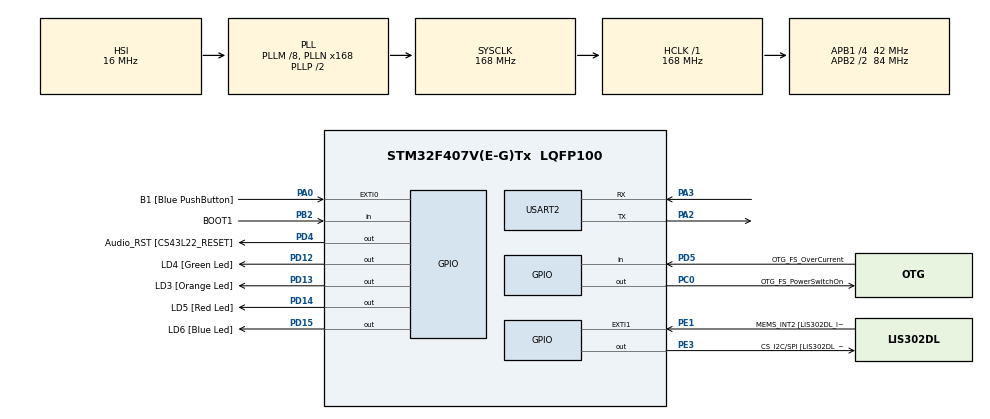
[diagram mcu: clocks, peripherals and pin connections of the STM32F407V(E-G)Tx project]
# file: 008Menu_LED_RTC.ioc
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Mcu.Family=STM32F4
Mcu.Name=STM32F407V(E-G)Tx
Mcu.Package=LQFP100
NVIC.PriorityGroup=NVIC_PRIORITYGROUP_4
NVIC.TIM6_DAC_IRQn=true\:0\:0\:false\:false\:true\:false\:true\:true
NVIC.TimeBase=TIM6_DAC_IRQn
NVIC.TimeBaseIP=TIM6
NVIC.USART2_IRQn=true\:6\:0\:true\:false\:true\:true\:true\:true
PA0-WKUP.GPIO_Label=B1 [Blue PushButton]
PA0-WKUP.Signal=GPXTI0
PA10.GPIO_Label=OTG_FS_ID
PA10.GPIO_Mode=GPIO_MODE_AF_PP
PA10.GPIO_PuPd=GPIO_NOPULL
PA10.GPIO_Speed=GPIO_SPEED_FREQ_LOW
PA10.Signal=USB_OTG_FS_ID
PA11.GPIO_Label=OTG_FS_DM
PA11.GPIO_Mode=GPIO_MODE_AF_PP
PA11.GPIO_PuPd=GPIO_NOPULL
PA11.GPIO_Speed=GPIO_SPEED_FREQ_LOW
PA11.Signal=USB_OTG_FS_DM
PA12.GPIO_Label=OTG_FS_DP
PA12.GPIO_Mode=GPIO_MODE_AF_PP
PA12.GPIO_PuPd=GPIO_NOPULL
PA12.GPIO_Speed=GPIO_SPEED_FREQ_LOW
PA12.Signal=USB_OTG_FS_DP
PA13.GPIO_Label=SWDIO
PA13.Signal=SYS_JTMS-SWDIO
PA14.GPIO_Label=SWCLK
PA14.Signal=SYS_JTCK-SWCLK
PA2.Mode=Asynchronous
PA2.Signal=USART2_TX
PA3.Mode=Asynchronous
PA3.Signal=USART2_RX
PA4.GPIO_Label=I2S3_WS [CS43L22_LRCK]
PA4.GPIO_Mode=GPIO_MODE_AF_PP
PA4.GPIO_PuPd=GPIO_NOPULL
PA4.GPIO_Speed=GPIO_SPEED_FREQ_LOW
PA4.Signal=I2S3_WS
PA5.GPIO_Label=SPI1_SCK [LIS302DL_SCL/SPC]
PA5.GPIO_Mode=GPIO_MODE_AF_PP
PA5.GPIO_PuPd=GPIO_NOPULL
PA5.GPIO_Speed=GPIO_SPEED_FREQ_LOW
PA5.Signal=SPI1_SCK
PA6.GPIO_Label=SPI1_MISO [LIS302DL_SDO]
PA6.GPIO_Mode=GPIO_MODE_AF_PP
PA6.GPIO_PuPd=GPIO_NOPULL
PA6.GPIO_Speed=GPIO_SPEED_FREQ_LOW
PA6.Signal=SPI1_MISO
PA7.GPIO_Label=SPI1_MOSI [LIS302DL_SDA/SDI/SDO]
PA7.GPIO_Mode=GPIO_MODE_AF_PP
PA7.GPIO_PuPd=GPIO_NOPULL
PA7.GPIO_Speed=GPIO_SPEED_FREQ_LOW
PA7.Signal=SPI1_MOSI
PA9.GPIO_Label=VBUS_FS
PA9.GPIO_Mode=GPIO_MODE_INPUT
PA9.GPIO_PuPd=GPIO_NOPULL
PA9.Signal=USB_OTG_FS_VBUS
PB10.GPIO_Label=CLK_IN [MP45DT02_CLK]
PB10.GPIO_Mode=GPIO_MODE_AF_PP
PB10.GPIO_PuPd=GPIO_NOPULL
PB10.GPIO_Speed=GPIO_SPEED_FREQ_LOW
PB10.Signal=I2S2_CK
PB2.GPIO_Label=BOOT1
PB2.GPIO_Mode=GPIO_MODE_INPUT
PB2.GPIO_PuPd=GPIO_NOPULL
PB2.Signal=GPIO_Input
PB3.GPIO_Label=SWO
PB3.Signal=SYS_JTDO-SWO
PB6.GPIO_Label=Audio_SCL [CS43L22_SCL]
PB6.GPIO_Mode=GPIO_MODE_AF_OD
PB6.GPIO_PuPd=GPIO_NOPULL
PB6.GPIO_Speed=GPIO_SPEED_FREQ_LOW
PB6.Signal=I2C1_SCL
PB9.GPIO_Label=Audio_SDA [CS43L22_SDA]
PB9.GPIO_Mode=GPIO_MODE_AF_OD
PB9.GPIO_PuPd=GPIO_NOPULL
PB9.GPIO_Speed=GPIO_SPEED_FREQ_LOW
PB9.Signal=I2C1_SDA
PC0.GPIO_Label=OTG_FS_PowerSwitchOn
PC0.GPIO_PuPd=GPIO_NOPULL
PC0.GPIO_Speed=GPIO_SPEED_FREQ_LOW
PC0.PinState=GPIO_PIN_SET
PC0.Signal=GPIO_Output
PC10.GPIO_Label=I2S3_SCK [CS43L22_SCLK]
PC10.GPIO_Mode=GPIO_MODE_AF_PP
PC10.GPIO_PuPd=GPIO_NOPULL
PC10.GPIO_Speed=GPIO_SPEED_FREQ_LOW
PC10.Signal=I2S3_CK
PC12.GPIO_Label=I2S3_SD [CS43L22_SDIN]
PC12.GPIO_Mode=GPIO_MODE_AF_PP
PC12.GPIO_PuPd=GPIO_NOPULL
PC12.GPIO_Speed=GPIO_SPEED_FREQ_LOW
PC12.Signal=I2S3_SD
PC14-OSC32_IN.GPIO_Label=PC14-OSC32_IN
PC14-OSC32_IN.Signal=RCC_OSC32_IN
PC15-OSC32_OUT.GPIO_Label=PC15-OSC32_OUT
PC15-OSC32_OUT.Signal=RCC_OSC32_OUT
PC3.GPIO_Label=PDM_OUT [MP45DT02_DOUT]
PC3.GPIO_Mode=GPIO_MODE_AF_PP
PC3.GPIO_PuPd=GPIO_NOPULL
PC3.GPIO_Speed=GPIO_SPEED_FREQ_LOW
PC3.Signal=I2S2_SD
PC7.GPIO_Label=I2S3_MCK [CS43L22_MCLK]
PC7.GPIO_Mode=GPIO_MODE_AF_PP
PC7.GPIO_PuPd=GPIO_NOPULL
PC7.GPIO_Speed=GPIO_SPEED_FREQ_LOW
PC7.Signal=I2S3_MCK
PD12.GPIO_Label=LD4 [Green Led]
PD12.GPIO_PuPd=GPIO_NOPULL
PD12.GPIO_Speed=GPIO_SPEED_FREQ_LOW
PD12.Signal=GPIO_Output
PD13.GPIO_Label=LD3 [Orange Led]
PD13.GPIO_PuPd=GPIO_NOPULL
PD13.GPIO_Speed=GPIO_SPEED_FREQ_LOW
PD13.Signal=GPIO_Output
PD14.GPIO_Label=LD5 [Red Led]
PD14.GPIO_PuPd=GPIO_NOPULL
PD14.GPIO_Speed=GPIO_SPEED_FREQ_LOW
PD14.Signal=GPIO_Output
PD15.GPIO_Label=LD6 [Blue Led]
PD15.GPIO_PuPd=GPIO_NOPULL
PD15.GPIO_Speed=GPIO_SPEED_FREQ_LOW
PD15.Signal=GPIO_Output
PD4.GPIO_Label=Audio_RST [CS43L22_RESET]
PD4.GPIO_PuPd=GPIO_NOPULL
PD4.GPIO_Speed=GPIO_SPEED_FREQ_LOW
PD4.Signal=GPIO_Output
PD5.GPIO_Label=OTG_FS_OverCurrent
PD5.GPIO_Mode=GPIO_MODE_INPUT
PD5.GPIO_PuPd=GPIO_NOPULL
PD5.Signal=GPIO_Input
PE1.GPIO_Label=MEMS_INT2 [LIS302DL_INT2]
PE1.GPIO_ModeDefaultEXTI=GPIO_MODE_EVT_RISING
PE1.GPIO_PuPd=GPIO_NOPULL
PE1.Signal=GPXTI1
PE3.GPIO_Label=CS_I2C/SPI [LIS302DL_CS_I2C/SPI]
PE3.GPIO_PuPd=GPIO_NOPULL
PE3.GPIO_Speed=GPIO_SPEED_FREQ_LOW
PE3.Signal=GPIO_Output
PH0-OSC_IN.GPIO_Label=PH0-OSC_IN
PH0-OSC_IN.Signal=RCC_OSC_IN
PH1-OSC_OUT.GPIO_Label=PH1-OSC_OUT
PH1-OSC_OUT.Signal=RCC_OSC_OUT
ProjectManager.HeapSize=0x200
ProjectManager.StackSize=0x400
ProjectManager.TargetToolchain=STM32CubeIDE
RCC.48MHZClocksFreq_Value=48000000
RCC.AHBFreq_Value=168000000
RCC.APB1CLKDivider=RCC_HCLK_DIV4
RCC.APB1Freq_Value=42000000
RCC.APB1TimFreq_Value=84000000
RCC.APB2CLKDivider=RCC_HCLK_DIV2
RCC.APB2Freq_Value=84000000
RCC.APB2TimFreq_Value=168000000
RCC.CortexFreq_Value=168000000
RCC.HCLKFreq_Value=168000000
RCC.HSE_VALUE=8000000
RCC.HSI_VALUE=16000000
RCC.LSE_VALUE=32768
RCC.PLLM=8
RCC.PLLN=168
RCC.PLLQ=7
RCC.SYSCLKFreq_VALUE=168000000
RCC.SYSCLKSource=RCC_SYSCLKSOURCE_PLLCLK
RCC.VCOOutputFreq_Value=336000000
RTC.HourFormat=RTC_HOURFORMAT_12
USART2.VirtualMode=VM_ASYNC
VP_RTC_VS_RTC_Activate.Mode=RTC_Enabled
VP_SYS_VS_tim6.Mode=TIM6
board=STM32F407G-DISC1

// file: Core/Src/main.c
/* USER CODE BEGIN Header */
/**
  ******************************************************************************
  * @file           : main.c
  * @brief          : Main program body
  ******************************************************************************
  * @attention
  *
  * Copyright (c) 2025 STMicroelectronics.
  * All rights reserved.
  *
  * This software is licensed under terms that can be found in the LICENSE file
  * in the root directory of this software component.
  * If no LICENSE file comes with this software, it is provided AS-IS.
  *
  ******************************************************************************
  */
/* USER CODE END Header */
#include "main.h"

RTC_HandleTypeDef hrtc;

UART_HandleTypeDef huart2;

/* USER CODE BEGIN PV */
TaskHandle_t handle_menu_task;
TaskHandle_t handle_cmd_task;
TaskHandle_t handle_print_task;
TaskHandle_t handle_led_task;
TaskHandle_t handle_rtc_task;

QueueHandle_t q_data;
QueueHandle_t q_print;

TimerHandle_t handle_led_timer[4];
TimerHandle_t rtc_timer;

volatile uint8_t user_data;

state_t curr_state = sMainMenu;
/* USER CODE END PV */

void SystemClock_Config(void);
static void MX_GPIO_Init(void);
static void MX_RTC_Init(void);
static void MX_USART2_UART_Init(void);
/* USER CODE BEGIN PFP */
void led_effect_callback(TimerHandle_t xTimer);
void rtc_report_callback(TimerHandle_t xTimer);
/* USER CODE END PFP */

int main(void)
{

  /* USER CODE BEGIN 1 */
	BaseType_t status;
  /* USER CODE END 1 */

  /* MCU Configuration--------------------------------------------------------*/

  /* Reset of all peripherals, Initializes the Flash interface and the Systick. */
  HAL_Init();

  /* Configure the system clock */
  SystemClock_Config();

  /* Initialize all configured peripherals */
  MX_GPIO_Init();
  MX_RTC_Init();
  MX_USART2_UART_Init();
  /* USER CODE BEGIN 2 */
  status = xTaskCreate(menu_task, "menu_task", 250, NULL, 2, &handle_menu_task);

  configASSERT(status == pdPASS);

  status = xTaskCreate(cmd_task, "cmd_task", 250, NULL, 2, &handle_cmd_task);

  configASSERT(status == pdPASS);

  status = xTaskCreate(print_task, "print_task", 250, NULL, 2, &handle_print_task);

  configASSERT(status == pdPASS);

  status = xTaskCreate(led_task, "led_task", 250, NULL, 2, &handle_led_task);

  configASSERT(status == pdPASS);

  status = xTaskCreate(rtc_task, "rtc_task", 250, NULL, 2, &handle_rtc_task);

  configASSERT(status == pdPASS);

  q_data = xQueueCreate(10, sizeof(char));

  configASSERT(q_data != NULL);

  q_print = xQueueCreate(10, sizeof(size_t)); //this queue carry pointer address

  configASSERT(q_print != NULL);

  //enable uart for receive interrupt and receiving 1 byte 1 byte
  HAL_UART_Receive_IT(&huart2, (uint8_t*)&user_data, 1);
  //length değerine 1 dediğimiz için her bir byte uart receive tamamlandı sanar ve HAL_UART_RxCpltCallback çağırılır, yani her byte çağırılır

  for(int i = 0; i < 4; i++)
	  handle_led_timer[i] = xTimerCreate("led_timer", pdMS_TO_TICKS(500), pdTRUE, (void*)(i+1), led_effect_callback);

  rtc_timer = xTimerCreate("rtc_report_timer", pdMS_TO_TICKS(1000), pdTRUE, NULL, rtc_report_callback);

  vTaskStartScheduler();
  /* USER CODE END 2 */

  /* Infinite loop */
  while (1)
  {

  }
}

void SystemClock_Config(void)
{
  RCC_OscInitTypeDef RCC_OscInitStruct = {0};
  RCC_ClkInitTypeDef RCC_ClkInitStruct = {0};

  /** Configure the main internal regulator output voltage
  */
  __HAL_RCC_PWR_CLK_ENABLE();
  __HAL_PWR_VOLTAGESCALING_CONFIG(PWR_REGULATOR_VOLTAGE_SCALE1);

  /** Initializes the RCC Oscillators according to the specified parameters
  * in the RCC_OscInitTypeDef structure.
  */
  RCC_OscInitStruct.OscillatorType = RCC_OSCILLATORTYPE_HSI|RCC_OSCILLATORTYPE_LSI;
  RCC_OscInitStruct.HSIState = RCC_HSI_ON;
  RCC_OscInitStruct.HSICalibrationValue = RCC_HSICALIBRATION_DEFAULT;
  RCC_OscInitStruct.LSIState = RCC_LSI_ON;
  RCC_OscInitStruct.PLL.PLLState = RCC_PLL_ON;
  RCC_OscInitStruct.PLL.PLLSource = RCC_PLLSOURCE_HSI;
  RCC_OscInitStruct.PLL.PLLM = 8;
  RCC_OscInitStruct.PLL.PLLN = 168;
  RCC_OscInitStruct.PLL.PLLP = RCC_PLLP_DIV2;
  RCC_OscInitStruct.PLL.PLLQ = 7;
  if (HAL_RCC_OscConfig(&RCC_OscInitStruct) != HAL_OK)
  {
    Error_Handler();
  }

  /** Initializes the CPU, AHB and APB buses clocks
  */
  RCC_ClkInitStruct.ClockType = RCC_CLOCKTYPE_HCLK|RCC_CLOCKTYPE_SYSCLK
                              |RCC_CLOCKTYPE_PCLK1|RCC_CLOCKTYPE_PCLK2;
  RCC_ClkInitStruct.SYSCLKSource = RCC_SYSCLKSOURCE_PLLCLK;
  RCC_ClkInitStruct.AHBCLKDivider = RCC_SYSCLK_DIV1;
  RCC_ClkInitStruct.APB1CLKDivider = RCC_HCLK_DIV4;
  RCC_ClkInitStruct.APB2CLKDivider = RCC_HCLK_DIV2;

  if (HAL_RCC_ClockConfig(&RCC_ClkInitStruct, FLASH_LATENCY_5) != HAL_OK)
  {
    Error_Handler();
  }
}

static void MX_RTC_Init(void)
{

  /** Initialize RTC Only
  */
  hrtc.Instance = RTC;
  hrtc.Init.HourFormat = RTC_HOURFORMAT_12;
  hrtc.Init.AsynchPrediv = 127;
  hrtc.Init.SynchPrediv = 255;
  hrtc.Init.OutPut = RTC_OUTPUT_DISABLE;
  hrtc.Init.OutPutPolarity = RTC_OUTPUT_POLARITY_HIGH;
  hrtc.Init.OutPutType = RTC_OUTPUT_TYPE_OPENDRAIN;
  if (HAL_RTC_Init(&hrtc) != HAL_OK)
  {
    Error_Handler();
  }

}

static void MX_USART2_UART_Init(void)
{

  huart2.Instance = USART2;
  huart2.Init.BaudRate = 115200;
  huart2.Init.WordLength = UART_WORDLENGTH_8B;
  huart2.Init.StopBits = UART_STOPBITS_1;
  huart2.Init.Parity = UART_PARITY_NONE;
  huart2.Init.Mode = UART_MODE_TX_RX;
  huart2.Init.HwFlowCtl = UART_HWCONTROL_NONE;
  huart2.Init.OverSampling = UART_OVERSAMPLING_16;
  if (HAL_UART_Init(&huart2) != HAL_OK)
  {
    Error_Handler();
  }

}

static void MX_GPIO_Init(void)
{
  GPIO_InitTypeDef GPIO_InitStruct = {0};

  /* GPIO Ports Clock Enable */
  __HAL_RCC_GPIOE_CLK_ENABLE();
  __HAL_RCC_GPIOC_CLK_ENABLE();
  __HAL_RCC_GPIOH_CLK_ENABLE();
  __HAL_RCC_GPIOA_CLK_ENABLE();
  __HAL_RCC_GPIOB_CLK_ENABLE();
  __HAL_RCC_GPIOD_CLK_ENABLE();

  /*Configure GPIO pin Output Level */
  HAL_GPIO_WritePin(CS_I2C_SPI_GPIO_Port, CS_I2C_SPI_Pin, GPIO_PIN_RESET);

  /*Configure GPIO pin Output Level */
  HAL_GPIO_WritePin(OTG_FS_PowerSwitchOn_GPIO_Port, OTG_FS_PowerSwitchOn_Pin, GPIO_PIN_SET);

  /*Configure GPIO pin Output Level */
  HAL_GPIO_WritePin(GPIOD, LD4_Pin|LD3_Pin|LD5_Pin|LD6_Pin
                          |Audio_RST_Pin, GPIO_PIN_RESET);

  /*Configure GPIO pin : CS_I2C_SPI_Pin */
  GPIO_InitStruct.Pin = CS_I2C_SPI_Pin;
  GPIO_InitStruct.Mode = GPIO_MODE_OUTPUT_PP;
  GPIO_InitStruct.Pull = GPIO_NOPULL;
  GPIO_InitStruct.Speed = GPIO_SPEED_FREQ_LOW;
  HAL_GPIO_Init(CS_I2C_SPI_GPIO_Port, &GPIO_InitStruct);

  /*Configure GPIO pin : OTG_FS_PowerSwitchOn_Pin */
  GPIO_InitStruct.Pin = OTG_FS_PowerSwitchOn_Pin;
  GPIO_InitStruct.Mode = GPIO_MODE_OUTPUT_PP;
  GPIO_InitStruct.Pull = GPIO_NOPULL;
  GPIO_InitStruct.Speed = GPIO_SPEED_FREQ_LOW;
  HAL_GPIO_Init(OTG_FS_PowerSwitchOn_GPIO_Port, &GPIO_InitStruct);

  /*Configure GPIO pin : PDM_OUT_Pin */
  GPIO_InitStruct.Pin = PDM_OUT_Pin;
  GPIO_InitStruct.Mode = GPIO_MODE_AF_PP;
  GPIO_InitStruct.Pull = GPIO_NOPULL;
  GPIO_InitStruct.Speed = GPIO_SPEED_FREQ_LOW;
  GPIO_InitStruct.Alternate = GPIO_AF5_SPI2;
  HAL_GPIO_Init(PDM_OUT_GPIO_Port, &GPIO_InitStruct);

  /*Configure GPIO pin : B1_Pin */
  GPIO_InitStruct.Pin = B1_Pin;
  GPIO_InitStruct.Mode = GPIO_MODE_IT_RISING;
  GPIO_InitStruct.Pull = GPIO_NOPULL;
  HAL_GPIO_Init(B1_GPIO_Port, &GPIO_InitStruct);

  /*Configure GPIO pin : I2S3_WS_Pin */
  GPIO_InitStruct.Pin = I2S3_WS_Pin;
  GPIO_InitStruct.Mode = GPIO_MODE_AF_PP;
  GPIO_InitStruct.Pull = GPIO_NOPULL;
  GPIO_InitStruct.Speed = GPIO_SPEED_FREQ_LOW;
  GPIO_InitStruct.Alternate = GPIO_AF6_SPI3;
  HAL_GPIO_Init(I2S3_WS_GPIO_Port, &GPIO_InitStruct);

  /*Configure GPIO pins : SPI1_SCK_Pin SPI1_MISO_Pin SPI1_MOSI_Pin */
  GPIO_InitStruct.Pin = SPI1_SCK_Pin|SPI1_MISO_Pin|SPI1_MOSI_Pin;
  GPIO_InitStruct.Mode = GPIO_MODE_AF_PP;
  GPIO_InitStruct.Pull = GPIO_NOPULL;
  GPIO_InitStruct.Speed = GPIO_SPEED_FREQ_LOW;
  GPIO_InitStruct.Alternate = GPIO_AF5_SPI1;
  HAL_GPIO_Init(GPIOA, &GPIO_InitStruct);

  /*Configure GPIO pin : BOOT1_Pin */
  GPIO_InitStruct.Pin = BOOT1_Pin;
  GPIO_InitStruct.Mode = GPIO_MODE_INPUT;
  GPIO_InitStruct.Pull = GPIO_NOPULL;
  HAL_GPIO_Init(BOOT1_GPIO_Port, &GPIO_InitStruct);

  /*Configure GPIO pin : CLK_IN_Pin */
  GPIO_InitStruct.Pin = CLK_IN_Pin;
  GPIO_InitStruct.Mode = GPIO_MODE_AF_PP;
  GPIO_InitStruct.Pull = GPIO_NOPULL;
  GPIO_InitStruct.Speed = GPIO_SPEED_FREQ_LOW;
  GPIO_InitStruct.Alternate = GPIO_AF5_SPI2;
  HAL_GPIO_Init(CLK_IN_GPIO_Port, &GPIO_InitStruct);

  /*Configure GPIO pins : LD4_Pin LD3_Pin LD5_Pin LD6_Pin
                           Audio_RST_Pin */
  GPIO_InitStruct.Pin = LD4_Pin|LD3_Pin|LD5_Pin|LD6_Pin
                          |Audio_RST_Pin;
  GPIO_InitStruct.Mode = GPIO_MODE_OUTPUT_PP;
  GPIO_InitStruct.Pull = GPIO_NOPULL;
  GPIO_InitStruct.Speed = GPIO_SPEED_FREQ_LOW;
  HAL_GPIO_Init(GPIOD, &GPIO_InitStruct);

  /*Configure GPIO pins : I2S3_MCK_Pin I2S3_SCK_Pin I2S3_SD_Pin */
  GPIO_InitStruct.Pin = I2S3_MCK_Pin|I2S3_SCK_Pin|I2S3_SD_Pin;
  GPIO_InitStruct.Mode = GPIO_MODE_AF_PP;
  GPIO_InitStruct.Pull = GPIO_NOPULL;
  GPIO_InitStruct.Speed = GPIO_SPEED_FREQ_LOW;
  GPIO_InitStruct.Alternate = GPIO_AF6_SPI3;
  HAL_GPIO_Init(GPIOC, &GPIO_InitStruct);

  /*Configure GPIO pin : VBUS_FS_Pin */
  GPIO_InitStruct.Pin = VBUS_FS_Pin;
  GPIO_InitStruct.Mode = GPIO_MODE_INPUT;
  GPIO_InitStruct.Pull = GPIO_NOPULL;
  HAL_GPIO_Init(VBUS_FS_GPIO_Port, &GPIO_InitStruct);

  /*Configure GPIO pins : OTG_FS_ID_Pin OTG_FS_DM_Pin OTG_FS_DP_Pin */
  GPIO_InitStruct.Pin = OTG_FS_ID_Pin|OTG_FS_DM_Pin|OTG_FS_DP_Pin;
  GPIO_InitStruct.Mode = GPIO_MODE_AF_PP;
  GPIO_InitStruct.Pull = GPIO_NOPULL;
  GPIO_InitStruct.Speed = GPIO_SPEED_FREQ_LOW;
  GPIO_InitStruct.Alternate = GPIO_AF10_OTG_FS;
  HAL_GPIO_Init(GPIOA, &GPIO_InitStruct);

  /*Configure GPIO pin : OTG_FS_OverCurrent_Pin */
  GPIO_InitStruct.Pin = OTG_FS_OverCurrent_Pin;
  GPIO_InitStruct.Mode = GPIO_MODE_INPUT;
  GPIO_InitStruct.Pull = GPIO_NOPULL;
  HAL_GPIO_Init(OTG_FS_OverCurrent_GPIO_Port, &GPIO_InitStruct);

  /*Configure GPIO pins : Audio_SCL_Pin Audio_SDA_Pin */
  GPIO_InitStruct.Pin = Audio_SCL_Pin|Audio_SDA_Pin;
  GPIO_InitStruct.Mode = GPIO_MODE_AF_OD;
  GPIO_InitStruct.Pull = GPIO_NOPULL;
  GPIO_InitStruct.Speed = GPIO_SPEED_FREQ_LOW;
  GPIO_InitStruct.Alternate = GPIO_AF4_I2C1;
  HAL_GPIO_Init(GPIOB, &GPIO_InitStruct);

  /*Configure GPIO pin : MEMS_INT2_Pin */
  GPIO_InitStruct.Pin = MEMS_INT2_Pin;
  GPIO_InitStruct.Mode = GPIO_MODE_EVT_RISING;
  GPIO_InitStruct.Pull = GPIO_NOPULL;
  HAL_GPIO_Init(MEMS_INT2_GPIO_Port, &GPIO_InitStruct);

}

/* USER CODE BEGIN 4 */
void rtc_report_callback(TimerHandle_t xTimer)
{
	show_time_date_itm();
}

void led_effect_callback(TimerHandle_t xTimer)
{
	 int id;
	 id = ( uint32_t ) pvTimerGetTimerID( xTimer );

	 switch(id)
	 {
	 case 1 :
		 LED_effect1();
		 break;
	 case 2:
		 LED_effect2();
		 break;
	 case 3:
		 LED_effect3();
		 break;
	 case 4:
		 LED_effect4();
	 }
}

//come from stm32f4xx_hal_uart.c and if kept /n completed
void HAL_UART_RxCpltCallback(UART_HandleTypeDef *huart)
{
	uint8_t dummy;
	if(xQueueIsQueueFullFromISR(q_data) != pdTRUE){ //check queue is full
		xQueueSendFromISR(q_data, (void*)&user_data, NULL);
	}else{
		if(user_data == '\n')
		{
			/*Make sure that last data byte of the queue is '\n' */
			xQueueReceiveFromISR(q_data,(void*)&dummy,NULL); //remove last byte
			xQueueSendFromISR(q_data ,(void*)&user_data , NULL);
		}
	}
	/*Send notification to command handling task if user_data = '\n' */
	if( user_data == '\n' ){
		/*send notification to command handling task */
		xTaskNotifyFromISR(handle_cmd_task,0,eNoAction,NULL);
	}

	/* Enable UART data byte reception again in IT mode */
	 HAL_UART_Receive_IT(&huart2, (uint8_t*)&user_data, 1);
}
/* USER CODE END 4 */

void HAL_TIM_PeriodElapsedCallback(TIM_HandleTypeDef *htim)
{
  if (htim->Instance == TIM6)
  {
    HAL_IncTick();
  }
}

void Error_Handler(void)
{
  __disable_irq();
  while (1)
  {
  }
}
